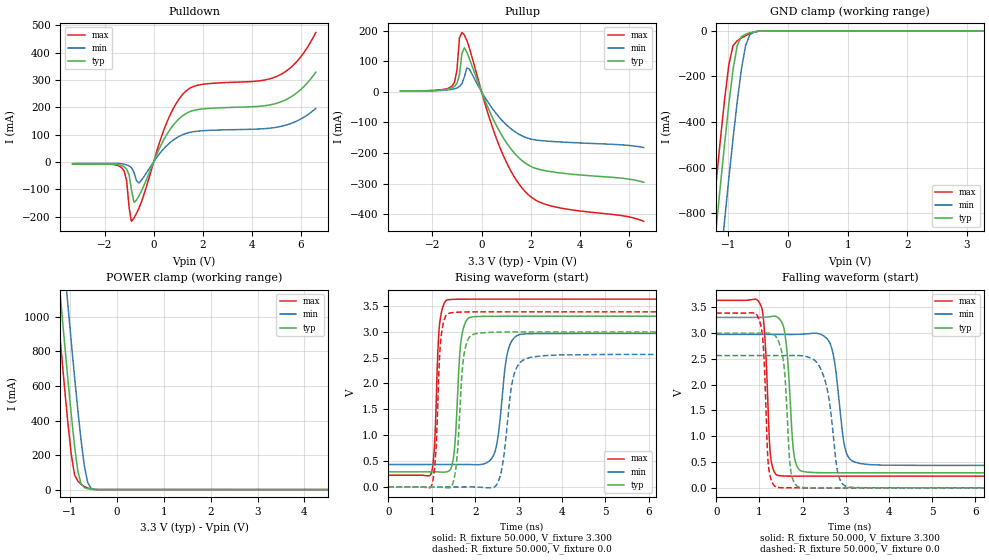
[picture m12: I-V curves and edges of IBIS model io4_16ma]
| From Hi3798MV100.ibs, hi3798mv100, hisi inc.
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|   Model io4_16ma
[Model] io4_16ma
Model_type I/O
Enable   Active-Low
C_comp   3.443pF   3.134pF   3.644pF
C_comp_pullup   1.824pF   1.718pF   1.870pF
C_comp_pulldown   1.396pF   1.274pF   1.474pF
[Temperature Range]   25.000   0.125k   -40.000
[Voltage Range]   3.300V   2.970V   3.630V
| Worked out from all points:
|   slope of the pulldown table from 0 to 0.495 V, typ, clamps not added: 5.24 ohm
|   slope of the pullup table from 0 to 0.495 V, typ, clamps not added: 5.32 ohm
|   GND clamp passes 1 mA (typ) near -0.46 V on its own axis
|   POWER clamp passes 1 mA (typ) near -0.51 V on its own axis
|   rising waveform, R_fixture 50.000, V_fixture 3.300: 20-80 % time 119ps typ, 194ps min, 91ps max; typ from 0.292 V to 3.3 V
|   rising waveform, R_fixture 50.000, V_fixture 0.0: 20-80 % time 134ps typ, 214ps min, 101ps max; typ from 0 V to 3 V
|   falling waveform, R_fixture 50.000, V_fixture 3.300: 20-80 % time 137ps typ, 209ps min, 108ps max; typ from 3.3 V to 0.292 V
|   falling waveform, R_fixture 50.000, V_fixture 0.0: 20-80 % time 129ps typ, 243ps min, 95.7ps max; typ from 3 V to 0 V
[Pulldown]
|Voltage   I(typ)   I(min)   I(max)
-3.3V     -7.57mA    -5.834mA   -8.431mA
-1.3V     -13.35mA   -7.014mA   -21.51mA
-1.1V     -26.5mA    -10.81mA   -69.01mA
-1V       -47.48mA   -14.62mA   -166.5mA
-900mV    -104.8mA   -21.88mA   -217.5mA
-800mV    -148.3mA   -38.25mA   -205mA
-600mV    -124.6mA   -77.34mA   -169.8mA
500mV     95.19mA    56.79mA    136.7mA
1.2V      170.4mA    100.5mA    249.1mA
5.1V      217.4mA    128.7mA    316.8mA
5.9V      258.1mA    152.9mA    375.1mA
6.6V      328.5mA    195.8mA    473.8mA
[Pullup]
|Voltage   I(typ)   I(min)   I(max)
-3.3V     2.444mA    2.251mA    2.476mA
-1.2V     12.7mA     7.809mA    18.79mA
-1V       27.73mA    12.34mA    72.6mA
-900mV    55.81mA    17.09mA    176.5mA
-800mV    124.9mA    26.59mA    193.3mA
-700mV    143.4mA    48.47mA    185.1mA
-500mV    109mA      74.38mA    143.9mA
700mV     -125mA     -81.44mA   -172.8mA
1.2V      -187.3mA   -121.2mA   -260mA
1.8V      -234.2mA   -149.5mA   -328.2mA
2.9V      -262mA     -162.5mA   -374.4mA
6.6V      -295.7mA   -182.2mA   -423.2mA
[GND_clamp]
|Voltage   I(typ)   I(min)   I(max)
-3.3V     -6.775A    -7.035A    -6.624A
-1.27V    -1.051A    -1.391A    -846.9mA
-1.2V     -860.6mA   -1.2A      -657.1mA
-1.06V    -493.3mA   -827.8mA   -298.8mA
-990mV    -322.2mA   -647.6mA   -149.5mA
-920mV    -171mA     -474.2mA   -65.16mA
-850mV    -64.78mA   -312mA     -43.82mA
-780mV    -25.58mA   -169.8mA   -31.88mA
-710mV    -14.94mA   -66.04mA   -21.48mA
-640mV    -8.835mA   -17.88mA   -12.82mA
-430mV    -438.1uA   -627.6uA   -443.7uA
3.28V     0A         0A         0A
[POWER_clamp]
|Voltage   I(typ)   I(min)   I(max)
-3.28V    7.852A     8.261A     7.609A
-1.32V    1.49A      1.927A     1.226A
-1.25V    1.271A     1.708A     1.008A
-1.18V    1.055A     1.491A     792.2mA
-1.04V    634.5mA    1.064A     382.2mA
-970mV    435.8mA    856.3mA    204.2mA
-900mV    253.6mA    654.3mA    86.06mA
-830mV    107.5mA    461.4mA    49.65mA
-690mV    11.98mA    135.8mA    17.79mA
-620mV    5.154mA    41.17mA    8.874mA
-480mV    413.3uA    1.23mA     720.7uA
6.6V      -86.79uA   -162.7nA   -146.4uA
[Ramp]
| variable   typ   min   max
dV/dt_r   1.797/0.142n   1.537/0.222n   2.030/0.108n
dV/dt_f   1.805/0.141n   1.521/0.212n   2.042/0.114n
R_load = 50.000
[Rising Waveform]
R_fixture= 50.000
V_fixture= 3.300
V_fixture_min= 2.970
V_fixture_max= 3.630
|time   V(typ)   V(min)   V(max)
0s        292.1mV    434.7mV    226.5mV
990ps     292.1mV    434.7mV    269.5mV
1.167ns   291mV      434.7mV    3.023V
1.334ns   291mV      434.7mV    3.607V
1.519ns   699.6mV    434.7mV    3.626V
1.693ns   2.931V     434.8mV    3.628V
1.873ns   3.276V     434.5mV    3.629V
2.451ns   3.299V     671.5mV    3.63V
2.961ns   3.3V       2.924V     3.63V
10ns      3.3V       2.97V      3.63V
[Rising Waveform]
R_fixture= 50.000
V_fixture= 0.0
V_fixture_min= 0.0
V_fixture_max= 0.0
|time   V(typ)   V(min)   V(max)
0s        326uV      0V         392uV
1ns       294.2uV    0V         37.22mV
1.207ns   -1.74mV    0V         2.837V
1.364ns   -16.42mV   6.494uV    3.346V
1.54ns    274.8mV    -10.76uV   3.374V
1.933ns   2.942V     1.182mV    3.383V
2.541ns   2.992V     123.4mV    3.384V
2.861ns   2.995V     2.054V     3.384V
3.141ns   2.996V     2.469V     3.384V
10ns      2.996V     2.562V     3.384V
[Falling Waveform]
R_fixture= 50.000
V_fixture= 3.300
V_fixture_min= 2.970
V_fixture_max= 3.630
|time   V(typ)   V(min)   V(max)
0s        3.3V       2.97V      3.63V
1.045ns   3.3V       2.97V      3.507V
1.255ns   3.315V     2.97V      636.1mV
1.411ns   3.308V     2.97V      244.7mV
1.595ns   2.957V     2.97V      229.5mV
1.791ns   702.4mV    2.97V      227.1mV
1.971ns   324.8mV    2.975V     226.7mV
2.649ns   292.7mV    2.769V     226.5mV
3.189ns   292.1mV    504.7mV    226.5mV
10ns      292.1mV    434.7mV    226.5mV
[Falling Waveform]
R_fixture= 50.000
V_fixture= 0.0
V_fixture_min= 0.0
V_fixture_max= 0.0
|time   V(typ)   V(min)   V(max)
0s        2.996V     2.562V     3.384V
1ns       2.996V     2.562V     3.24V
1.095ns   2.998V     2.562V     2.681V
1.211ns   2.994V     2.562V     411.9mV
1.384ns   2.925V     2.562V     14.19mV
1.725ns   340.3mV    2.562V     882.6uV
1.911ns   16.3mV     2.562V     511.1uV
2.489ns   625uV      2.161V     395.4uV
2.989ns   350uV      34.69mV    392.4uV
10ns      326uV      0V         392uV
